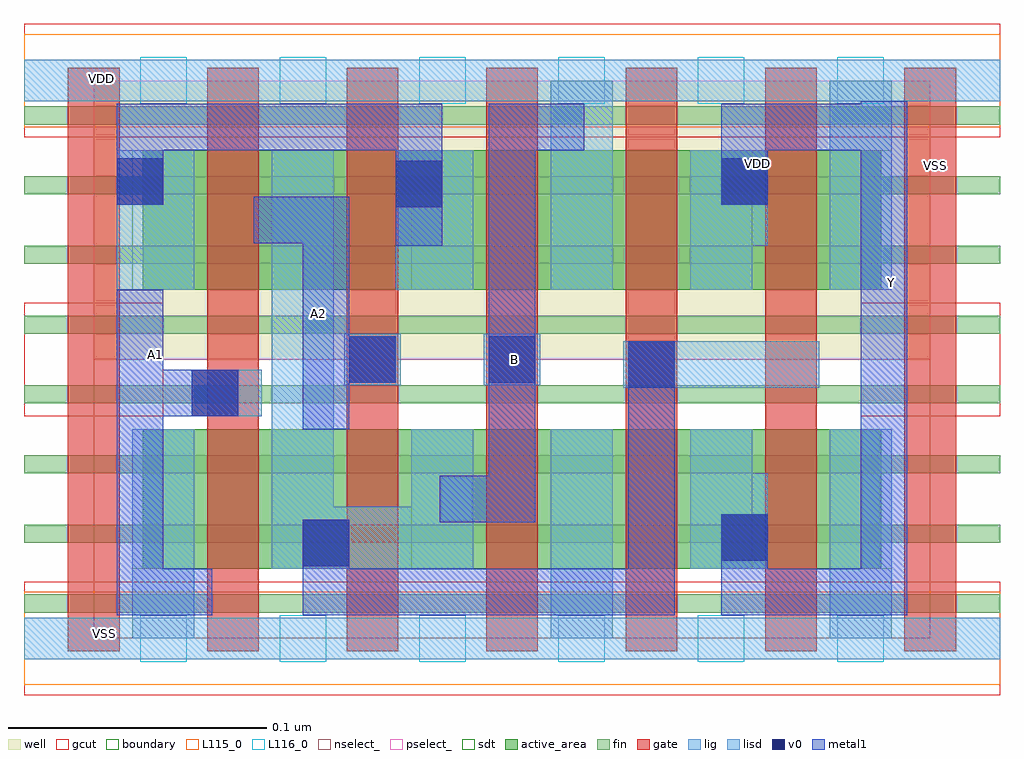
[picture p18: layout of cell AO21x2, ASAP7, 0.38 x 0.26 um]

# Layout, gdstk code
import gdstk
lib = gdstk.Library(unit=1e-6, precision=2.5e-10)
def R(c, l, rs):  # rectangles x0, y0, x1, y1
    for r in rs: c.add(gdstk.rectangle(r[:2], r[2:], *l))
def A(c, l, x, y, w, h, nx, ny, dx, dy):  # array of equal rectangles
    R(c, l, [(x+i*dx, y+j*dy, x+i*dx+w, y+j*dy+h) for i in range(nx) for j in range(ny)])
def P(c, l, *ps):  # polygons
    for p in ps: c.add(gdstk.Polygon(p, *l))
well = (1, 0)
fin = (2, 0)
gate = (7, 0)
gcut = (10, 0)
active_area = (11, 0)
nselect_ = (12, 0)
pselect_ = (13, 0)
lig = (16, 0)
lisd = (17, 0)
v0 = (18, 0)
metal1 = (19, 0)
sdt = (88, 0)
boundary = (100, 0)
L115_0 = (115, 0)
L116_0 = (116, 0)

ao21x2 = lib.new_cell('AO21x2')
R(ao21x2, well, [(0,0.108,0.324,0.216)])
A(ao21x2, fin, -0.027, 0.01, 0.378, 0.007, 1, 8, 0, 0.027)
A(ao21x2, gate, -0.01, -0.005, 0.02, 0.226, 6, 1, 0.054, 0)
R(ao21x2, gate, [(0.26,-0.005,0.28,0.221), (0.26,-0.005,0.28,0.221), (0.26,-0.005,0.28,0.221), (0.26,-0.005,0.28,0.221), (0.26,-0.005,0.28,0.221), (0.314,-0.005,0.334,0.221)])
R(ao21x2, gcut, [(-0.027,-0.022,0.351,0.022), (-0.027,0.086,0.027,0.13), (0.297,0.086,0.351,0.13), (-0.027,0.194,0.351,0.238)])
R(ao21x2, active_area, [(0.019,0.027,0.305,0.081), (0.019,0.135,0.305,0.189)])
R(ao21x2, nselect_, [(0,0,0.324,0.108)])
R(ao21x2, pselect_, [(0,0.108,0.324,0.216)])
R(ao21x2, lig, [(-0.027,-0.008,0.351,0.008), (0.038,0.086,0.065,0.104), (0.205,0.097,0.281,0.115), (0.097,0.098,0.119,0.118), (0.151,0.098,0.173,0.118), (-0.027,0.208,0.351,0.224)])
R(ao21x2, lisd, [(0.015,0,0.039,0.081), (0.177,0,0.201,0.081), (0.285,0,0.309,0.081), (0.009,0.135,0.039,0.189), (0.117,0.135,0.147,0.189), (0.177,0.135,0.201,0.216), (0.285,0.135,0.309,0.216)])
P(ao21x2, lisd, [(0.147,0.081),(0.123,0.081),(0.123,0.051),(0.093,0.051),(0.093,0.189),(0.069,0.189),(0.069,0.027),(0.147,0.027)],
  [(0.261,0.064),(0.255,0.064),(0.255,0.081),(0.231,0.081),(0.231,0.027),(0.261,0.027)],
  [(0.261,0.189),(0.231,0.189),(0.231,0.135),(0.255,0.135),(0.255,0.152),(0.261,0.152)])
R(ao21x2, v0, [(0.081,0.028,0.099,0.046), (0.243,0.03,0.261,0.048), (0.038,0.086,0.056,0.104), (0.207,0.097,0.225,0.115), (0.099,0.099,0.117,0.117), (0.153,0.099,0.171,0.117), (0.117,0.167,0.135,0.185), (0.009,0.168,0.027,0.186), (0.243,0.168,0.261,0.186)])
R(ao21x2, metal1, [(0.009,0.009,0.046,0.027), (0.009,0.009,0.027,0.135), (0.081,0.009,0.099,0.046), (0.099,0.009,0.225,0.027), (0.207,0.009,0.225,0.115), (0.243,0.009,0.261,0.048), (0.26,0.009,0.297,0.027), (0.297,0.009,0.315,0.208), (0.134,0.045,0.171,0.063), (0.153,0.045,0.171,0.207), (0.081,0.081,0.099,0.171), (0.009,0.086,0.056,0.104), (0.081,0.099,0.117,0.117), (0.117,0.152,0.135,0.207), (0.062,0.153,0.099,0.171), (0.009,0.168,0.027,0.207), (0.243,0.168,0.261,0.207), (0.027,0.189,0.135,0.207), (0.153,0.189,0.19,0.207), (0.243,0.189,0.297,0.207)])
A(ao21x2, sdt, 0.123, 0.027, 0.024, 0.054, 4, 1, 0.054, 0)
A(ao21x2, sdt, 0.015, 0.135, 0.024, 0.054, 6, 1, 0.054, 0)
R(ao21x2, sdt, [(0.015,0.027,0.039,0.081)])
R(ao21x2, boundary, [(0,0,0.324,0.216)])
R(ao21x2, L115_0, [(-0.027,-0.018,0.351,0.018), (-0.027,0.198,0.351,0.234)])
A(ao21x2, L116_0, 0.018, -0.009, 0.018, 0.018, 6, 2, 0.054, 0.216)
ao21x2.add(gdstk.Label('Y', (0.309,0.138), layer=19, texttype=251))
ao21x2.add(gdstk.Label('B', (0.163,0.108), layer=19, texttype=251))
ao21x2.add(gdstk.Label('A2', (0.087,0.126), layer=19, texttype=251))
ao21x2.add(gdstk.Label('A1', (0.024,0.11), layer=19, texttype=251))
ao21x2.add(gdstk.Label('VDD', (0.257,0.184), layer=1, texttype=251))
ao21x2.add(gdstk.Label('VSS', (0.326,0.183), layer=3, texttype=251))
ao21x2.add(gdstk.Label('VSS', (0.004,0.002), layer=115, texttype=251))
ao21x2.add(gdstk.Label('VDD', (0.003,0.217), layer=115, texttype=251))

lib.write_gds('AO21x2.gds')
